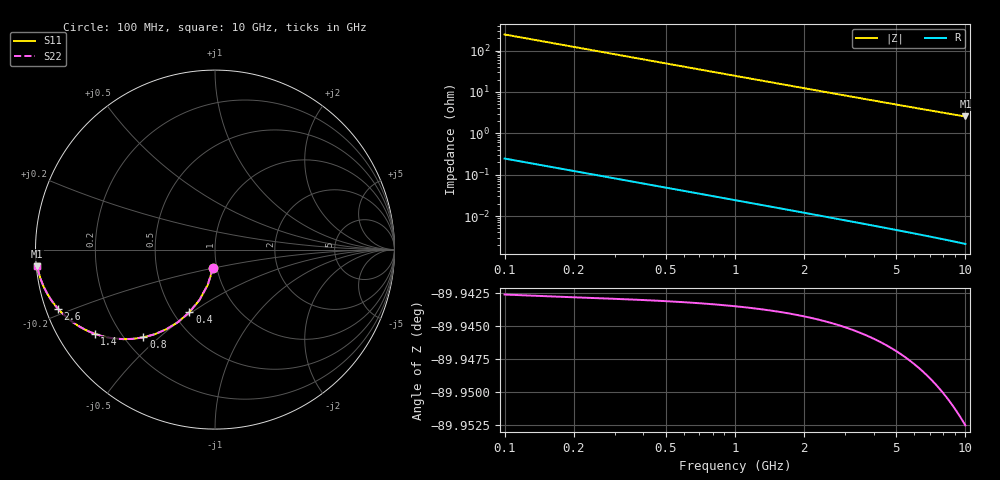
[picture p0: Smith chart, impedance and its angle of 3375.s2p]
# Hz S RI R 50.00
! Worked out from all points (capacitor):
!   100 points, 100 MHz to 10 GHz, reference 50 ohm
!   read as one part in shunt: C = 6.49 pF near 100 MHz
!   lowest |Z| = 2.55 ohm at 10 GHz (marker M1)
!   S11 on the Smith chart (normalised r, x): 100 MHz: 0.96, -0.20; 400 MHz: 0.60, -0.49; 800 MHz: 0.27, -0.45; 1.4 GHz: 0.11, -0.31; 2.6 GHz: 0.03, -0.18; 10 GHz: 0.00, -0.05
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1e8  -0.0104 -0.1008  0.9896 -0.1009  0.9896 -0.1009  -0.0104 -0.1008
2e8  -0.04 -0.1955  0.9599 -0.1957  0.9599 -0.1957  -0.04 -0.1955
3e8  -0.0857 -0.2793  0.9143 -0.2795  0.9143 -0.2795  -0.0857 -0.2793
4e8  -0.1427 -0.3491  0.8573 -0.3494  0.8573 -0.3494  -0.1427 -0.3491
5e8  -0.2063 -0.4039  0.7937 -0.4043  0.7937 -0.4043  -0.2063 -0.4039
6e8  -0.2722 -0.4443  0.7278 -0.4448  0.7278 -0.4448  -0.2722 -0.4443
7e8  -0.3372 -0.472  0.6627 -0.4726  0.6627 -0.4726  -0.3372 -0.472
8e8  -0.3991 -0.4889  0.6008 -0.4896  0.6008 -0.4896  -0.3991 -0.4889
9e8  -0.4567 -0.4972  0.5433 -0.498  0.5433 -0.498  -0.4567 -0.4972
1.1e9  -0.5565 -0.4958  0.4435 -0.4968  0.4435 -0.4968  -0.5565 -0.4958
1.2e9  -0.5988 -0.4891  0.4011 -0.4901  0.4011 -0.4901  -0.5988 -0.4891
1.4e9  -0.67 -0.4691  0.3299 -0.4703  0.3299 -0.4703  -0.67 -0.4691
1.6e9  -0.7261 -0.4448  0.2739 -0.4461  0.2739 -0.4461  -0.7261 -0.4448
1.8e9  -0.7703 -0.4194  0.2297 -0.4209  0.2297 -0.4209  -0.7703 -0.4194
2.2e9  -0.8334 -0.3711  0.1665 -0.373  0.1665 -0.373  -0.8334 -0.3711
2.6e9  -0.8747 -0.3294  0.1253 -0.3316  0.1253 -0.3316  -0.8747 -0.3294
3.4e9  -0.9226 -0.2653  0.0774 -0.2682  0.0774 -0.2682  -0.9226 -0.2653
4.2e9  -0.9478 -0.2201  0.0521 -0.2236  0.0521 -0.2236  -0.9478 -0.2201
5.1e9  -0.964 -0.1836  0.036 -0.188  0.036 -0.188  -0.964 -0.1836
6.7e9  -0.9788 -0.1406  0.0212 -0.1464  0.0212 -0.1464  -0.9788 -0.1406
8.4e9  -0.9864 -0.1114  0.0135 -0.1188  0.0135 -0.1188  -0.9864 -0.1114
1e10  -0.9904 -0.0924  0.00952 -0.1012  0.00952 -0.1012  -0.9904 -0.0924
